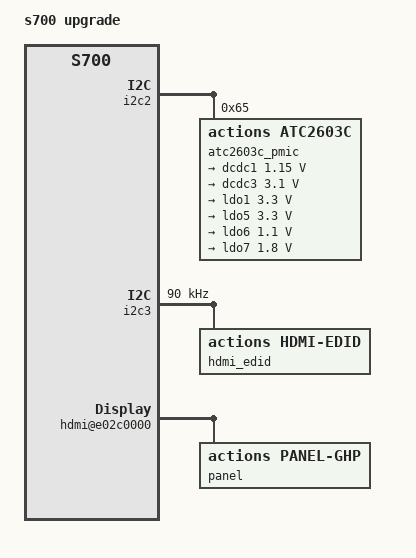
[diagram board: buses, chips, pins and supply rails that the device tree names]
/*
 * Copyright (c) 2015 Actions Semi Co., Ltd.
 *
 * SPDX-License-Identifier:	GPL-2.0+
 */

/dts-v1/;

#include "s700.dtsi"

/ {
	model = "s700 upgrade";
	compatible = "actions,s700_upgrade", "actions,s700";

	chosen {
		stdout-path = &serial5;
	};

	clock:e0168000 {
		compatible = "actions,owl-clk";
		core_pll = <600>;
		dev_pll = <600>;
		display_pll = <480>;
	};

	pwm: pwm@e01b0000 {
		pwm0 {
			id = <0>;
			mfp = <0>;
		};

		pwm1 {
			id = <1>;
			mfp = <0>;
		};

		pwm2 {
			id = <2>;
			mfp = <0>;
		};
	};

	xhci@e0400000 {
		actions,vbus-gpio = <&gpioc 8 0>;  /* GPIOC8,  1: low active; 0: high active */
	};

	adfu{
		compatible = "actions,s700-adfu";
		detect_times = <130>;
		detect_interval = <5>;	/* total time =  detect_times * detect_interval(ms) */
	};

	i2c2: i2c@e0178000 {
			#address-cells = <1>;
			#size-cells = <1>;
		atc2603c_pmic {
			compatible = "actions,atc2603c";
			reg = <0x65 1>;


			total_steps = <2625>;
			pwms_gpu = <&pwm 1 2625 0>;
			vdd_gpu = <350>;
			vdd_core = <490>;
			pwms_core = <&pwm 2 2625 0>;
			atc2603c_pstore {
					compatible = "actions,atc2603c-pstore";
			};
			voltage-regulators {

			dcdc1: dcdc1 {
				regulator-name = "dcdc1";
					regulator-min-microvolt = <1150000>;
					regulator-max-microvolt = <1150000>;
				regulator-always-on;
			};

			dcdc3: dcdc3 {
				regulator-name = "dcdc3";
				regulator-min-microvolt = <3100000>;
				regulator-max-microvolt = <3100000>;
				regulator-always-on;
			};

			ldo1: ldo1{
				regulator-name = "ldo1";
				regulator-min-microvolt  = <3300000>;
				regulator-max-microvolt = <3300000>;
				regulator-always-on;
			};

			ldo5: ldo5{
				regulator-name = "ldo5";
				regulator-min-microvolt  = <3300000>;
				regulator-max-microvolt = <3300000>;
				regulator-always-on;
			};

			ldo6: ldo6{
				regulator-name = "ldo6";
				regulator-min-microvolt  = <1100000>;
				regulator-max-microvolt = <1100000>;
				regulator-always-on;
			};

			ldo7: ldo7{
				regulator-name = "ldo7";
				regulator-min-microvolt  = <1800000>;
				regulator-max-microvolt = <1800000>;
				regulator-always-on;
			};


		};
		atc2603c_adckeypad {
			#define KEY_VOLUMEDOWN	114
			#define KEY_VOLUMEUP	115
			compatible = "actions,atc2603c-adckeypad";
			keymapsize = <1>;
			adc_channel_name = "REMCON";
			key_val = <KEY_VOLUMEUP>;
			left_adc_val =  <144>;
			right_adc_val = <239>;
		};
		atc2603c_irkey {
			compatible = "actions,atc2603c-ir";
			config {
				protocol = <1>; /* 0:9012 1:NEC8 2:RC5 */
				customer_code = <0x0dff40>;
				wk_code = <0x4d>;
				keymapsize = <45>;
				ir_code  =<0x0 0x01 0x02 0x03 0x04 0x05 0x06 0x07 0x08 0x09  0x0A  0x0B  0x0C  0x0D  0x0E  0x0F  0x10 0x11  0x12 0x13 0x14 0x15  0x16 0x17 0x18 0x19 0x1A  0x1B 0x1C  0x1D 0x1E 0x1F 0x40 0x41 0x42  0x43  0x44 0x45  0x46 0x47 0x4D  0x53 0x54  0x57 0x5B>;
				key_code =<11   2   3    4    5    6    7    8    9 	 10 	 100    103  126   353   108   52    105  106    14   60   63  115    80   61   65   76   172   78   114   97   79   75   77  81   158    113  65   139   64   71   116   72   175   82   73>;
			};
			config-1 {
				protocol = <1>; /* 0:9012 1:NEC8 2:RC5 */
				customer_code = <0x0dff40>;
				wk_code = <0x4d>;
				keymapsize = <45>;
				ir_code  =<0x0 0x01 0x02 0x03 0x04 0x05 0x06 0x07 0x08 0x09  0x0A  0x0B  0x0C  0x0D  0x0E  0x0F  0x10 0x11  0x12 0x13 0x14 0x15  0x16 0x17 0x18 0x19 0x1A  0x1B 0x1C  0x1D 0x1E 0x1F 0x40 0x41 0x42  0x43  0x44 0x45  0x46 0x47 0x4D  0x53 0x54  0x57 0x5B>;
				key_code =<11   2   3    4    5    6    7    8    9 	 10 	 100    103  126   353   108   52    105  106    14   60   63  115    80   61   65   76   172   78   114   97   79   75   77  81   158    113  65   139   64   71   116   72   175   82   73>;
			};
		};
		atc2603c_power_led {
			compatible = "actions,atc2603c-power-led";
			
			led-1 {
				mux = <0x66 8 1>;
				mfp_io = <0x6a 9>;
				gpio = <0x6b 3 1>;
				default-state = <1>;/*on*/
			};
			led-2 {
				mux = <0x66 10 0>;
				mfp_io = <0x6a 9>;/*reg, start bit*/
				gpio = <0x6b 4 1>;/*reg, index, low active*/
				default-state = <0>;/*off*/
			};
		};

		};
	};

	i2c3: i2c@e017c000 {
		clock-frequency = <90000>;
		hdmi_edid {
			compatible = "actions,hdmi-edid";
		};
	};

	hdmi@e02c0000 {
		channel_invert = <0>;
		bit_invert = <0>;

		panel@ghp {
			compatible = "actions,panel-ghp";

			is_primary = <1>;

			draw_width = <1920>;
			draw_height = <1080>;

			videomode-0 = <&default_mode>;

			/* default mode used when EDID read error */
			default_mode: videomode {
				refresh_rate = <60>;

				xres = <1280>;
				yres = <720>;
			};
		};
	};

};
